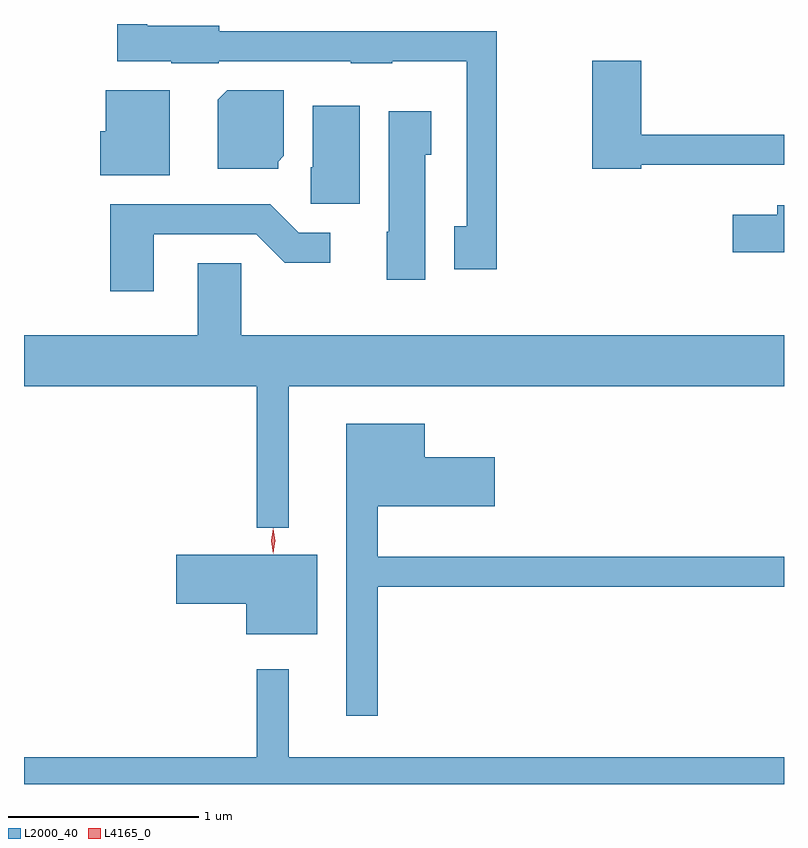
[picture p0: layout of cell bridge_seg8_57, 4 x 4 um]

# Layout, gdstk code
import gdstk
lib = gdstk.Library(unit=1e-6, precision=1e-09)
def P(c, l, *ps):  # polygons
    for p in ps: c.add(gdstk.Polygon(p, *l))
L2000_40 = (2000, 40)
L4165_0 = (4165, 0)

bridge_seg8_57 = lib.new_cell('bridge_seg8_57')
P(bridge_seg8_57, L2000_40, [(1567.854,1915.984),(1566.394,1915.984),(1566.394,1916.014),(1566.014,1916.014),(1566.014,1916.023),(1565.366,1916.023),(1565.366,1916.021),(1565.856,1916.021),(1565.856,1915.826),(1566.14,1915.826),(1566.14,1915.816),(1566.39,1915.816),(1566.39,1915.826),(1567.085,1915.826),(1567.085,1915.816),(1567.305,1915.816),(1567.305,1915.826),(1567.696,1915.826),(1567.696,1914.959),(1567.631,1914.959),(1567.631,1914.731),(1567.854,1914.731)],
  [(1568.614,1915.281),(1569.366,1915.281),(1569.366,1915.439),(1568.614,1915.439),(1568.614,1915.829),(1568.356,1915.829),(1568.356,1915.261),(1568.614,1915.261)],
  [(1566.134,1915.674),(1565.796,1915.674),(1565.796,1915.459),(1565.766,1915.459),(1565.766,1915.226),(1566.134,1915.226)],
  [(1566.704,1915.299),(1566.734,1915.329),(1566.734,1915.674),(1566.437,1915.674),(1566.386,1915.624),(1566.386,1915.261),(1566.704,1915.261)],
  [(1567.134,1915.594),(1566.886,1915.594),(1566.886,1915.27),(1566.876,1915.27),(1566.876,1915.076),(1567.134,1915.076)],
  [(1567.479,1915.336),(1567.509,1915.336),(1567.509,1915.564),(1567.286,1915.564),(1567.286,1914.93),(1567.276,1914.93),(1567.276,1914.676),(1567.479,1914.676)],
  [(1566.049,1914.916),(1566.589,1914.916),(1566.739,1914.766),(1566.978,1914.766),(1566.978,1914.924),(1566.812,1914.924),(1566.662,1915.074),(1565.821,1915.074),(1565.821,1914.616),(1566.049,1914.616)],
  [(1569.366,1915.069),(1569.331,1915.069),(1569.331,1915.019),(1569.096,1915.019),(1569.096,1914.821),(1569.366,1914.821)],
  [(1566.759,1914.116),(1569.366,1914.116),(1569.366,1914.384),(1566.509,1914.384),(1566.509,1914.764),(1566.281,1914.764),(1566.281,1914.384),(1565.366,1914.384),(1565.366,1914.116),(1566.591,1914.116),(1566.591,1913.373),(1566.759,1913.373)],
  [(1567.229,1913.061),(1569.366,1913.061),(1569.366,1913.219),(1567.229,1913.219),(1567.229,1913.486),(1567.844,1913.486),(1567.844,1913.744),(1567.474,1913.744),(1567.474,1913.919),(1567.061,1913.919),(1567.061,1912.383),(1567.229,1912.383)],
  [(1566.909,1913.229),(1566.166,1913.229),(1566.166,1912.971),(1566.536,1912.971),(1566.536,1912.811),(1566.909,1912.811)],
  [(1569.366,1912.164),(1566.759,1912.164),(1566.759,1912.628),(1566.591,1912.628),(1566.591,1912.164),(1565.366,1912.164),(1565.366,1912.023),(1569.366,1912.023)])
P(bridge_seg8_57, L4165_0, [(1566.677,1913.234),(1566.668,1913.302),(1566.677,1913.37),(1566.677,1913.37),(1566.678,1913.37),(1566.687,1913.302),(1566.678,1913.234),(1566.678,1913.234)],
  [(1566.678,1913.24),(1566.678,1913.241),(1566.668,1913.303),(1566.677,1913.366),(1566.677,1913.367),(1566.678,1913.366),(1566.688,1913.304),(1566.679,1913.241)])

lib.write_gds('bridge_seg8_57.gds')
